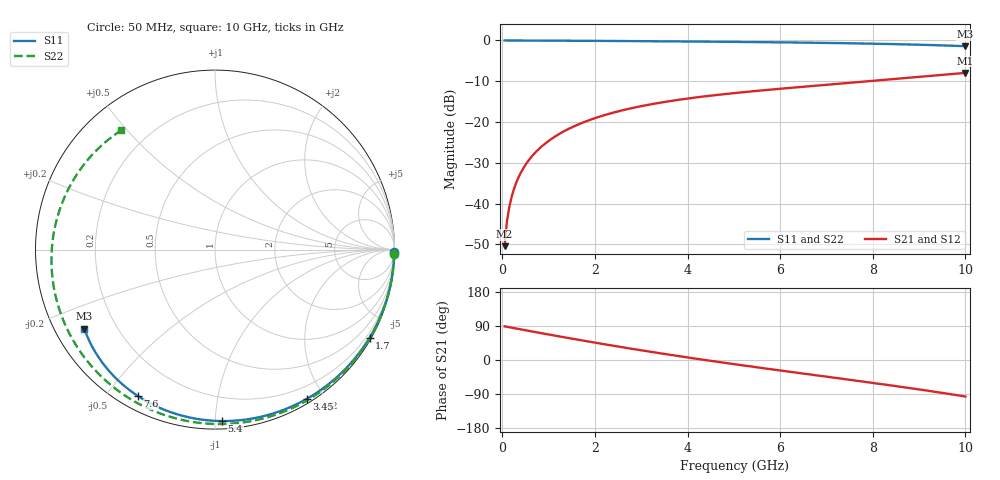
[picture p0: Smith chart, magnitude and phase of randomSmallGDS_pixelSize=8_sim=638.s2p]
! freq	dB(S11)	phase(S11)	dB(S12)	phase(S12)
!  dB(S21)	phase(S21)	dB(S22)	phase(S22)
!S-par simulation data
#  GHz  S  DB  R 50
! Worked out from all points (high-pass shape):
!   200 points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, 50 MHz to 10 GHz, reference 50 ohm
!   highest |S21| = -7.95 dB at 10 GHz (marker M1); lowest = -50.5 dB at 50 MHz (marker M2)
!   |S21| within 3 dB of the highest: 6.919 GHz to end of sweep
!   lowest |S11| = -1.4 dB at 10 GHz (marker M3), VSWR 12.42, Z = 4.34 - j13.8 ohm
!   |S11| at or under -10 dB: nowhere
!   |S22| runs from -1.5 to 0.0 dB; largest |S21 - S12| = 0
!   S11 on the Smith chart (normalised r, x): 50 MHz: open; 1.7 GHz: 0.07, -3.77; 3.45 GHz: 0.05, -1.79; 5.4 GHz: 0.05, -1.04; 7.6 GHz: 0.06, -0.60; 10 GHz: 0.09, -0.28
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0.05  -0.00 -0.9  -50.47 88.8  -50.47 88.8  -0.01 -1.3
0.1  -0.00 -1.8  -44.45 87.7  -44.45 87.7  -0.01 -2.7
0.15  -0.01 -2.7  -40.93 86.5  -40.93 86.5  -0.02 -4.1
0.2  -0.01 -3.6  -38.44 85.4  -38.44 85.4  -0.02 -5.5
0.3  -0.01 -5.3  -34.93 83.1  -34.93 83.1  -0.02 -8.2
0.45  -0.02 -8.0  -31.43 79.6  -31.43 79.6  -0.02 -12.3
0.65  -0.02 -11.5  -28.28 75.1  -28.28 75.1  -0.03 -17.7
0.95  -0.03 -16.7  -25.08 68.4  -25.08 68.4  -0.05 -25.8
1.7  -0.08 -29.7  -20.32 52.1  -20.32 52.1  -0.10 -45.6
1.75  -0.08 -30.5  -20.10 51.1  -20.10 51.1  -0.10 -46.9
2.55  -0.14 -43.9  -17.26 34.5  -17.26 34.5  -0.16 -66.9
3.4  -0.20 -57.6  -15.28 17.9  -15.28 17.9  -0.24 -87.0
3.45  -0.21 -58.4  -15.19 17.0  -15.19 17.0  -0.24 -88.2
4.2  -0.27 -70.0  -13.96 3.1  -13.96 3.1  -0.31 -104.9
5.05  -0.35 -82.6  -12.87 -11.7  -12.87 -11.7  -0.40 -123.1
5.4  -0.39 -87.7  -12.47 -17.7  -12.47 -17.7  -0.44 -130.3
6.05  -0.47 -96.9  -11.80 -28.5  -11.80 -28.5  -0.53 -143.7
6.7  -0.55 -105.8  -11.16 -39.1  -11.16 -39.1  -0.62 -157.0
7.6  -0.71 -117.9  -10.30 -53.8  -10.30 -53.8  -0.78 -175.7
8.35  -0.87 -127.7  -9.57 -66.4  -9.57 -66.4  -0.95 168.0
9.15  -1.09 -138.0  -8.78 -80.4  -8.78 -80.4  -1.17 149.6
10  -1.40 -148.9  -7.95 -96.3  -7.95 -96.3  -1.46 128.3
